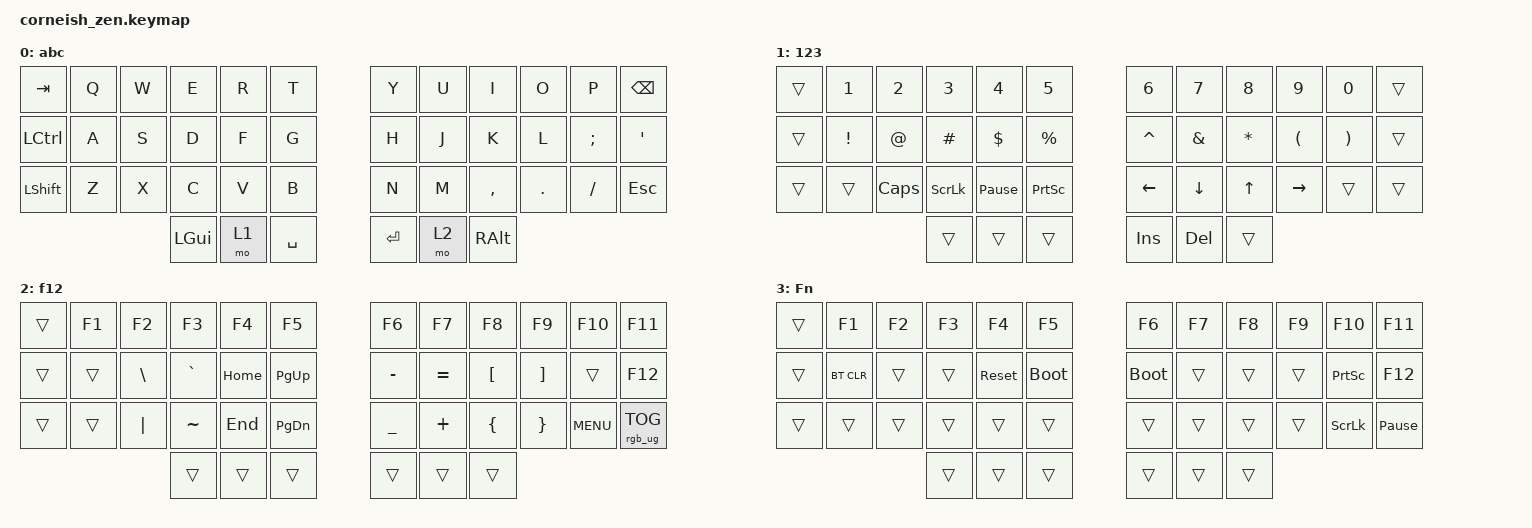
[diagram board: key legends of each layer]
/*
 * Copyright (c) 2020 The ZMK Contributors
 *
 * SPDX-License-Identifier: MIT
 */

#include <behaviors.dtsi>
#include <dt-bindings/zmk/bt.h>
#include <dt-bindings/zmk/keys.h>
#include <dt-bindings/zmk/outputs.h>
#include <dt-bindings/zmk/rgb.h>

/ {
    chosen {
        zmk,matrix_transform = &default_transform;

        // zmk,matrix_transform = &five_column_transform;
    };
};

/ {

    keymap {
        compatible = "zmk,keymap";



        default_layer {
            display-name = "abc";

            // --------------------------------------------------------------------------------
            // |  TAB |  Q  |  W  |  E  |  R  |  T  |   |  Y  |  U   |  I  |  O  |  P  | BKSP |
            // | CTRL |  A  |  S  |  D  |  F  |  G  |   |  H  |  J   |  K  |  L  |  ;  |  '   | 
            // | SHFT |  Z  |  X  |  C  |  V  |  B  |   |  N  |  M   |  ,  |  .  |  /  | ESC  |
            //                    | GUI | LWR | SPC |   | ENT | RSE  | ALT |

            bindings = <
&kp TAB         &kp Q  &kp W  &kp E     &kp R  &kp T          &kp Y        &kp U  &kp I      &kp O    &kp P     &kp BSPC
&kp LCTRL       &kp A  &kp S  &kp D     &kp F  &kp G          &kp H        &kp J  &kp K      &kp L    &kp SEMI  &kp SQT
&kp LEFT_SHIFT  &kp Z  &kp X  &kp C     &kp V  &kp B          &kp N        &kp M  &kp COMMA  &kp DOT  &kp FSLH  &kp ESC
                              &kp LGUI  &mo 1  &kp SPACE      &kp ENTER    &mo 2  &kp RALT
            >;
        };

        lower_layer {
            display-name = "123";

            // -----------------------------------------------------------------------------------------
            // |  TAB |  1  |  2  |  3  |  4  |  5  |   |  6  |  7  |  8  |  9  |  0  | BKSP |
            // | BTCLR| BT1 | BT2 | BT3 | BT4 | BT5 |   | LFT | DWN |  UP | RGT |     |      |
            // | SHFT |     |     |     |     |     |   |     |     |     |     |     |      |
            //                    | GUI |     | SPC |   | ENT |     | ALT |

            bindings = <
&trans  &kp N1           &kp N2          &kp N3           &kp N4           &kp N5             &kp N6           &kp N7           &kp N8           &kp N9           &kp N0    &trans
&trans  &kp EXCL         &kp AT          &kp HASH         &kp DLLR         &kp PRCNT          &kp CARET        &kp AMPS         &kp ASTRK        &kp LPAR         &kp RPAR  &trans
&trans  &trans           &kp CAPS        &kp SCROLLLOCK   &kp PAUSE_BREAK  &kp PRINTSCREEN    &kp LEFT         &kp DOWN         &kp UP           &kp RIGHT        &trans    &trans
                                         &trans           &trans           &trans             &kp INS          &kp DEL          &trans
            >;
        };

        raise_layer {
            display-name = "f12";

            // -----------------------------------------------------------------------------------------
            // |  TAB |  !  |  @  |  #  |  $  |  %  |   |  ^  |  &  |  *  |  (  |  )  | BKSP |
            // | CTRL |     |     |     |     |     |   |  -  |  =  |  [  |  ]  |  \  |  `   |
            // | SHFT |     |     |     |     |     |   |  _  |  +  |  {  |  }  | "|" |  ~   |
            //                    | GUI |     | SPC |   | ENT |     | ALT |

            bindings = <
&trans  &kp F1      &kp F2    &kp F3     &kp F4      &kp F5         &kp F6       &kp F7     &kp F8     &kp F9    &kp F10          &kp F11
&trans  &trans      &kp BSLH  &kp GRAVE  &kp HOME    &kp PG_UP      &kp MINUS    &kp EQUAL  &kp LBKT   &kp RBKT  &trans           &kp F12
&trans  &trans      &kp PIPE  &kp TILDE  &kp END     &kp PG_DN      &kp UNDER    &kp PLUS   &kp LBRC   &kp RBRC  &kp K_MENU       &rgb_ug RGB_TOG
                              &trans     &trans      &trans         &trans       &trans     &trans
            >;
        };

        layer_3 {
            display-name = "Fn";
            bindings = <
&trans  &kp F1      &kp F2  &kp F3  &kp F4      &kp F5         &kp F6       &kp F7  &kp F8  &kp F9  &kp F10          &kp F11
&trans  &bt BT_CLR  &trans  &trans  &sys_reset  &bootloader    &bootloader  &trans  &trans  &trans  &kp PRINTSCREEN  &kp F12
&trans  &trans      &trans  &trans  &trans      &trans         &trans       &trans  &trans  &trans  &kp SCROLLLOCK   &kp PAUSE_BREAK
                            &trans  &trans      &trans         &trans       &trans  &trans
            >;
        };
    };
};
